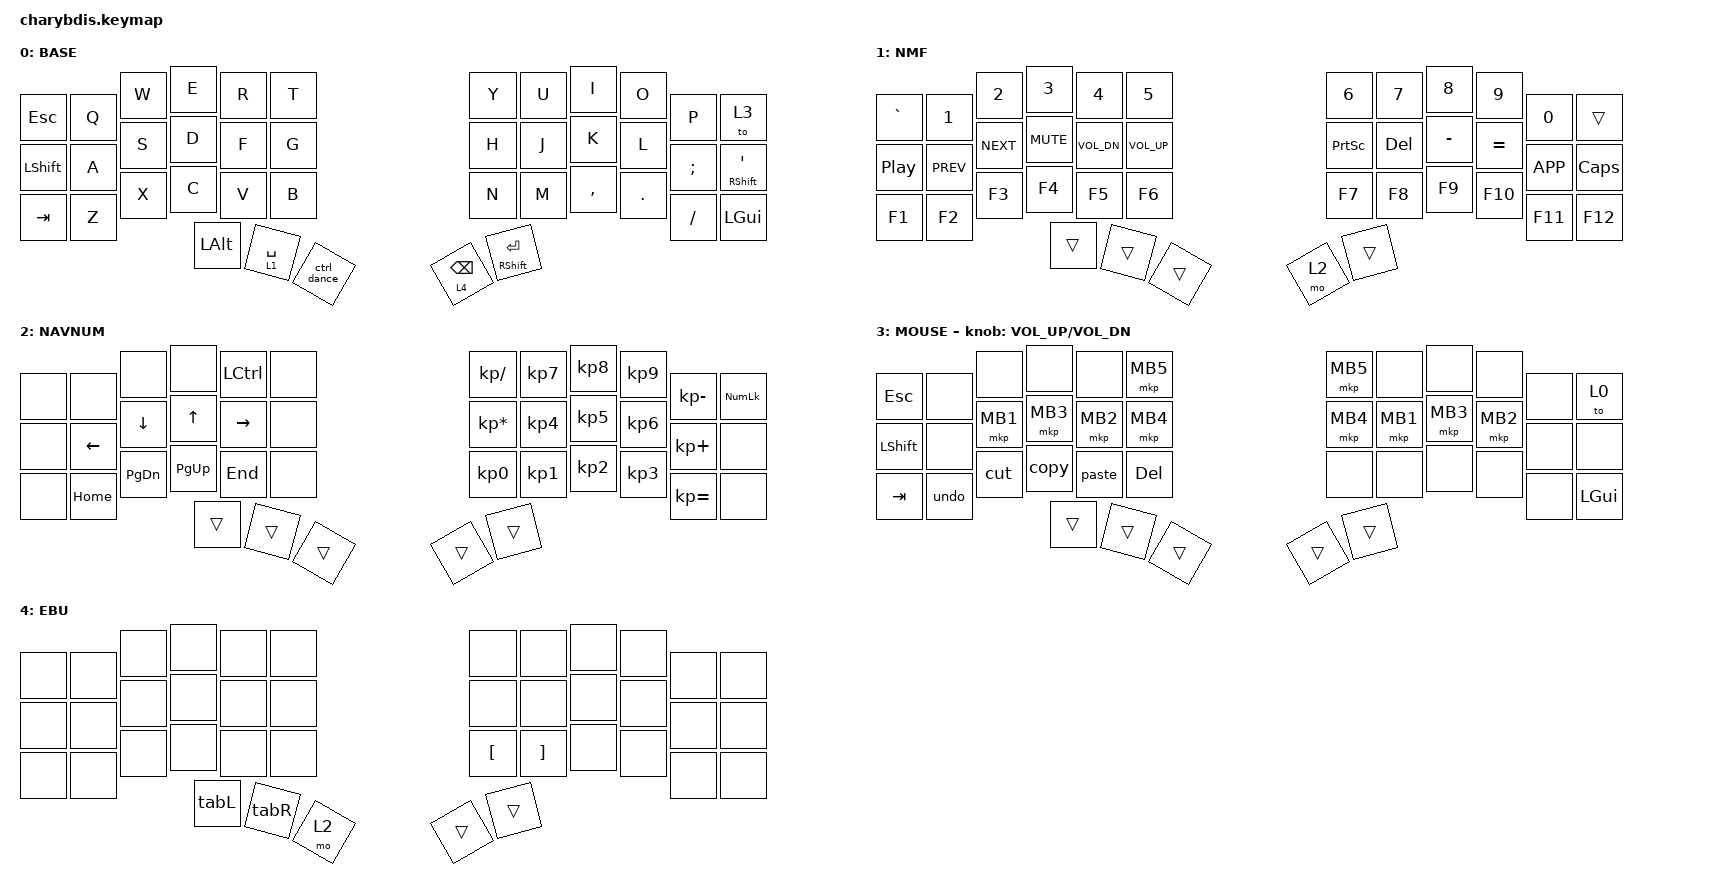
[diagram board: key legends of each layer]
#include "behaviors.dtsi"
#include "combos.dtsi"
#include <dt-bindings/zmk/keys.h>
#include <dt-bindings/zmk/pointing.h>

#define ZMK_POINTING_DEFAULT_SCRL_VAL 120

#include <dt-bindings/zmk/ext_power.h>
#include <dt-bindings/zmk/outputs.h>

#include "zmk-helpers/helper.h"

#define HM_TAPPING_TERM 180
#define HM_TAPPING_TERM_FAST 150
#define HM_PRIOR_IDLE 120

#define COMBO_TERM_FAST 35
#define COMBO_TERM_SLOW 40
#define COMBO_PRIOR_IDLE 80

#include "layers.h"

#include "zmk-helpers/key-labels/42.h"  

#define KEYS_L LT0 LT1 LT2 LT3 LT4 LT5 LM0 LM1 LM2 LM3 LM4 LB0 LB1 LB2 LB3 LB4 LB5  
#define KEYS_R RT0 RT1 RT2 RT3 RT4 RT5 RM0 RM1 RM2 RM3 RM4 RB0 RB1 RB2 RB3 RB4 RB5  
#define KEYS_T                   LH2 LH1 LH0 RH0 RH1 RH3   


/ {
 
  keymap {
    compatible = "zmk,keymap";

          BASE {
            display-name = "BASE";
            bindings = <
            // ╭─────────────┬─────────────┬─────────────┬─────────────┬──────────────┬─────────────╮   ╭─────────────┬──────────────┬─────────────┬─────────────┬─────────────┬────────────────╮
                 &kp ESCAPE    &kp Q         &kp W         &kp E         &kp R          &kp T             &kp Y         &kp U          &kp I         &kp O         &kp P         &to 3
            // ├─────────────┼─────────────┼─────────────┼─────────────┼──────────────┼─────────────┤   ├─────────────┼──────────────┼─────────────┼─────────────┼─────────────┼────────────────┤
                 &kp LSHFT     &kp A         &kp S         &kp D         &kp F          &kp G             &kp H         &kp J          &kp K         &kp L         &kp SEMI      &mt RSHFT SQT
            // ├─────────────┼─────────────┼─────────────┼─────────────┼──────────────┼─────────────┤   ├─────────────┼──────────────┼─────────────┼─────────────┼─────────────┼────────────────┤
                 &kp TAB       &kp Z         &kp X         &kp C         &kp V          &kp B             &kp N         &kp M          &kp COMMA     &kp DOT       &kp SLASH     &kp LGUI
            // ╰─────────────┴─────────────┴─────────────┼─────────────┼──────────────┼─────────────┤   ├─────────────┼──────────────┼─────────────┴─────────────┴─────────────┴────────────────╯
                                                           &kp LALT      &lt 1 SPACE    &ctrl_dance       &lt 4 BSPC    &mt RSHFT ENTER
            //                                           ╰─────────────┴──────────────┴─────────────╯   ╰─────────────┴──────────────╯
            >;
            // sensor-bindings = <&inc_dec_kp C_VOL_UP C_VOL_DN>;
        };

          NMF {
            display-name = "NMF";
            bindings = <
            // ╭─────────────┬─────────────┬─────────────┬─────────────┬──────────────┬─────────────╮   ╭─────────────┬──────────────┬─────────────┬─────────────┬─────────────┬────────────────╮
                 &kp GRAVE     &kp N1        &kp N2        &kp N3        &kp N4         &kp N5            &kp N6        &kp N7         &kp N8        &kp N9        &kp N0            &trans
            // ├─────────────┼─────────────┼─────────────┼─────────────┼──────────────┼─────────────┤   ├─────────────┼──────────────┼─────────────┼─────────────┼─────────────┼────────────────┤
                 &kp C_PP      &kp C_PREV    &kp C_NEXT    &kp C_MUTE    &kp C_VOL_DN   &kp C_VOL_UP      &kp PSCRN     &kp DEL        &kp MINUS     &kp EQUAL     &kp K_APP         &kp CAPS
            // ├─────────────┼─────────────┼─────────────┼─────────────┼──────────────┼─────────────┤   ├─────────────┼──────────────┼─────────────┼─────────────┼─────────────┼────────────────┤
                 &kp F1        &kp F2        &kp F3        &kp F4        &kp F5         &kp F6            &kp F7        &kp F8         &kp F9        &kp F10       &kp F11           &kp F12
            // ╰─────────────┴─────────────┴─────────────┼─────────────┼──────────────┼─────────────┤   ├─────────────┼──────────────┼─────────────┴─────────────┴─────────────┴────────────────╯
                                                           &trans        &trans         &trans            &mo 2         &trans
            //                                           ╰─────────────┴──────────────┴─────────────╯   ╰─────────────┴──────────────╯
            >;
            // sensor-bindings = <&inc_dec_kp C_BRI_UP C_BRI_DN>;
        };


     NAVNUM {
            display-name = "NAVNUM";
            bindings = <
            // ╭─────────────┬─────────────┬─────────────┬─────────────┬──────────────┬─────────────╮   ╭─────────────┬──────────────┬─────────────┬─────────────┬─────────────┬────────────────╮
                 &none        &none         &none         &none         &kp LCTRL      &none             &kp KP_DIVIDE &kp KP_N7      &kp KP_N8     &kp KP_N9     &kp KP_MINUS    &kp KP_NUM
            // ├─────────────┼─────────────┼─────────────┼─────────────┼──────────────┼─────────────┤   ├─────────────┼──────────────┼─────────────┼─────────────┼─────────────┼────────────────┤
                 &none        &kp LEFT      &kp DOWN      &kp UP        &kp RIGHT      &none             &kp KP_MULTIPLY &kp KP_N4    &kp KP_N5     &kp KP_N6     &kp KP_PLUS     &none
            // ├─────────────┼─────────────┼─────────────┼─────────────┼──────────────┼─────────────┤   ├─────────────┼──────────────┼─────────────┼─────────────┼─────────────┼────────────────┤
                 &none        &kp HOME      &kp PG_DN     &kp PG_UP     &kp END        &none             &kp KP_N0     &kp KP_N1      &kp KP_N2     &kp KP_N3     &kp KP_EQUAL     &none
            // ╰─────────────┴─────────────┴─────────────┼─────────────┼──────────────┼─────────────┤   ├─────────────┼──────────────┼─────────────┴─────────────┴─────────────┴────────────────╯
                                                           &trans        &trans         &trans            &trans        &trans
            //                                           ╰─────────────┴──────────────┴─────────────╯   ╰─────────────┴──────────────╯
            >;
            // sensor-bindings = <&scroll_encoder>;
        };

    MOUSE {
            display-name = "MOUSE";
            bindings = <
            // ╭─────────────┬─────────────┬─────────────┬─────────────┬──────────────┬─────────────╮   ╭─────────────┬──────────────┬─────────────┬─────────────┬─────────────┬────────────────╮
                 &kp ESCAPE   &none         &none         &none         &none          &mkp MB5          &mkp MB5      &none          &none         &none         &none             &to 0
            // ├─────────────┼─────────────┼─────────────┼─────────────┼──────────────┼─────────────┤   ├─────────────┼──────────────┼─────────────┼─────────────┼─────────────┼────────────────┤
                 &kp LSHFT    &none         &mkp MB1      &mkp MB3      &mkp MB2       &mkp MB4          &mkp MB4      &mkp MB1       &mkp MB3      &mkp MB2      &none             &none
            // ├─────────────┼─────────────┼─────────────┼─────────────┼──────────────┼─────────────┤   ├─────────────┼──────────────┼─────────────┼─────────────┼─────────────┼────────────────┤
                 &kp TAB      &undo         &cut          &copy         &paste         &kp DEL           &none         &none          &none         &none         &none             &kp LGUI
            // ╰─────────────┴─────────────┴─────────────┼─────────────┼──────────────┼─────────────┤   ├─────────────┼──────────────┼─────────────┴─────────────┴─────────────┴────────────────╯
                                                           &trans        &trans         &trans            &trans        &trans
            //                                           ╰─────────────┴──────────────┴─────────────╯   ╰─────────────┴──────────────╯
            >;
            sensor-bindings = <&inc_dec_kp C_VOL_UP C_VOL_DN>;
        };

     EBU {
          display-name = "EBU";
          bindings = < 
          // ╭─────────────┬─────────────┬─────────────┬─────────────┬──────────────┬─────────────╮ ╭─────────────┬──────────────┬─────────────┬─────────────┬─────────────┬────────────────╮
               &none         &none         &none         &none         &none           &none           &none          &none           &none         &none         &none          &none
          // ├─────────────┼─────────────┼─────────────┼─────────────┼──────────────┼─────────────┤ ├─────────────┼──────────────┼─────────────┼─────────────┼─────────────┼────────────────┤
               &none         &none         &none         &none         &none           &none           &none          &none           &none         &none         &none          &none
          // ├─────────────┼─────────────┼─────────────┼─────────────┼──────────────┼─────────────┤ ├─────────────┼──────────────┼─────────────┼─────────────┼─────────────┼────────────────┤
               &none         &none         &none         &none         &none           &none           &kp LBKT       &kp RBKT        &none         &none         &none          &none
          // ╰─────────────┴─────────────┴─────────────┼─────────────┼──────────────┼─────────────┤ ├─────────────┼──────────────┼─────────────┴─────────────┴─────────────┴────────────────╯
                                                            &tabL        &tabR         &mo 2           &trans        &trans
          //                                           ╰─────────────┴──────────────┴─────────────╯ ╰─────────────┴──────────────╯                          
      >;
    };
  };
};





              



